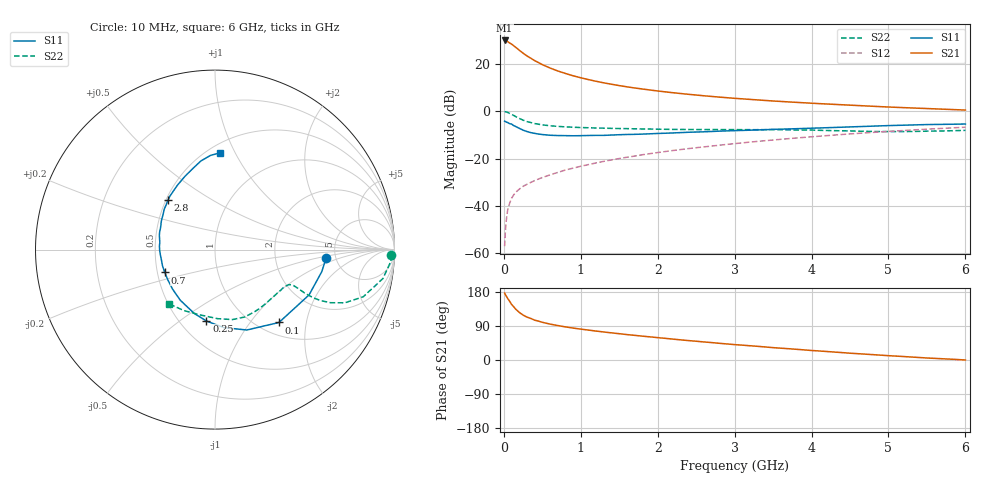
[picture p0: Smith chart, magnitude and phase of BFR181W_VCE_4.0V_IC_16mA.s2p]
! Infineon Technologies  Discrete & RF Semiconductors
! BFR181W
! VCE =  4.0 V,  IC =  16 mA
! Common Emitter S-Parameters:  Jan 2017
# GHz  S  MA  R  50
!  f  S11  S21  S12  S22
! GHz  MAG  ANG  MAG  ANG  MAG  ANG  MAG  ANG
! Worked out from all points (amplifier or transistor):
!   77 points, 10 MHz to 6 GHz, reference 50 ohm
!   highest |S21| = 30.0 dB at 10 MHz (marker M1)
!   |S21| within 3 dB of that: start of sweep to 158.1 MHz
!   unconditionally stable (mu >= 1): 712.7 MHz to 2.644 GHz
!   at 130 MHz: K = 0.39, MSG = 31.5 dB, |S12| = -35.3 dB
!   at 2.2 GHz: K = 1.04, MAG = 11.0 dB, |S12| = -16.6 dB
!   at 6 GHz: K = 0.83, MSG = 3.6 dB, |S12| = -6.7 dB
!   S11 on the Smith chart (normalised r, x): 10 MHz: 4.17, -0.63; 100 MHz: 1.22, -1.40; 250 MHz: 0.67, -0.63; 700 MHz: 0.55, -0.15; 2.8 GHz: 0.51, +0.33; 6 GHz: 0.57, +0.87
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0.01  0.6208 -4.3  31.67 176.8  0.0014 98.7  0.9808 -1.8
0.02  0.6077 -11.6  31.3 172.5  0.0029 86.6  0.982 -3.8
0.05  0.5817 -25.7  29.98 162.3  0.0081 76.5  0.9492 -9.8
0.1  0.5404 -48.7  26.62 146.8  0.0144 70.8  0.8673 -17.6
0.15  0.4818 -68.4  22.99 135.0  0.0191 65.1  0.7813 -22.3
0.2  0.4376 -83.5  19.69 125.7  0.0225 65.2  0.7083 -24.7
0.25  0.4005 -96.8  17.07 118.6  0.0259 62.7  0.6519 -25.8
0.3  0.3742 -107.9  14.91 113.2  0.0285 62.7  0.6077 -26.1
0.4  0.3421 -124.4  11.86 105.2  0.0342 64.2  0.552 -25.8
0.5  0.323 -137.1  9.746 99.5  0.0397 65.9  0.5171 -25.2
0.6  0.3121 -147.5  8.275 94.8  0.0452 66.0  0.4953 -24.8
0.7  0.3076 -155.6  7.174 90.9  0.0509 68.4  0.4804 -24.6
0.9  0.304 -169.0  5.664 84.3  0.0628 69.7  0.4613 -25.1
1.1  0.3084 -179.2  4.699 78.9  0.0746 71.3  0.4498 -26.3
1.3  0.3102 172.3  4.009 73.9  0.0874 71.7  0.4407 -28.1
1.5  0.3201 165.6  3.509 69.4  0.1002 71.9  0.4327 -30.4
2.1  0.3444 148.5  2.585 57.1  0.1412 70.7  0.4171 -39.7
2.8  0.3813 133.3  2.002 44.1  0.1918 67.8  0.4114 -53.0
3.1  0.3947 127.7  1.839 39.2  0.2153 65.9  0.4098 -58.7
4.1  0.4451 111.1  1.458 23.8  0.2978 58.5  0.3971 -78.3
5.1  0.5044 97.8  1.216 10.3  0.3844 49.3  0.3727 -104.9
6  0.5392 87.2  1.065 0.1  0.4617 39.8  0.396 -130.1
